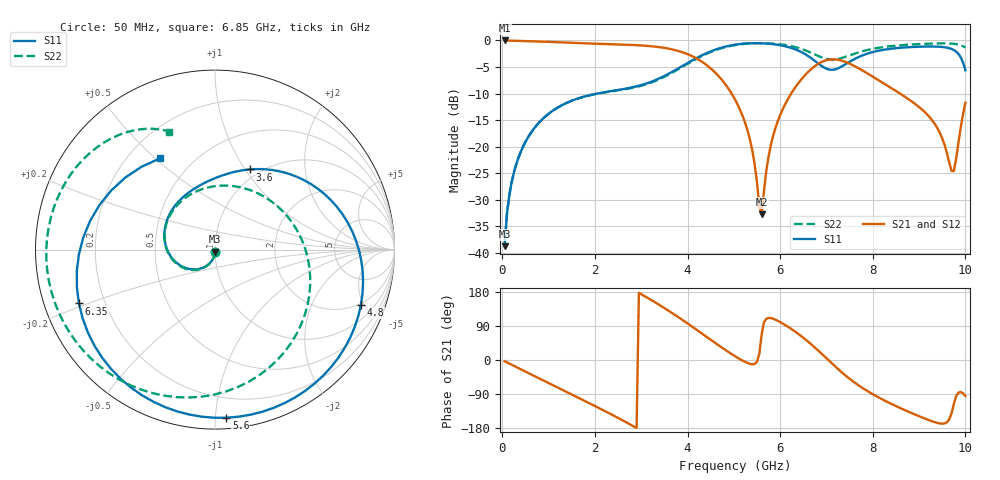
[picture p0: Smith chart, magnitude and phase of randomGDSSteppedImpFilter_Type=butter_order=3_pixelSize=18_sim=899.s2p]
! freq	dB(S11)	phase(S11)	dB(S12)	phase(S12)
!  dB(S21)	phase(S21)	dB(S22)	phase(S22)
!S-par simulation data
#  GHz  S  DB  R 50
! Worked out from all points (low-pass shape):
!   200 points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, 50 MHz to 10 GHz, reference 50 ohm
!   highest |S21| = -0.02 dB at 50 MHz (marker M1); lowest = -32.7 dB at 5.6 GHz (marker M2)
!   |S21| within 3 dB of the highest: start of sweep to 4.111 GHz
!   lowest |S11| = -38.7 dB at 50 MHz (marker M3), VSWR 1.02, Z = 50.1 - j1.15 ohm
!   |S11| at or under -10 dB: start of sweep to 2.054 GHz
!   |S22| runs from -38.7 to -0.5 dB; largest |S21 - S12| = 0
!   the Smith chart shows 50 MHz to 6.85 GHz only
!   S11 on the Smith chart (normalised r, x): 50 MHz: 1.00, -0.02; 3.6 GHz: 0.90, +1.05; 4.8 GHz: 1.89, -4.75; 5.6 GHz: 0.07, -1.07; 6.35 GHz: 0.11, -0.19; 6.85 GHz: 0.33, +0.52
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0.05  -38.73 -84.5  -0.02 -3.1  -0.02 -3.1  -38.72 -84.3
0.2  -26.77 -99.7  -0.05 -12.3  -0.05 -12.3  -26.77 -99.2
0.5  -19.10 -120.6  -0.12 -30.6  -0.12 -30.6  -19.10 -119.3
1.75  -10.62 163.3  -0.55 -106.1  -0.55 -106.1  -10.65 163.4
2.65  -9.11 114.6  -0.81 -162.6  -0.81 -162.6  -9.20 98.7
3.4  -7.12 77.4  -1.29 144.7  -1.29 144.7  -7.27 30.0
3.6  -6.25 66.5  -1.57 129.3  -1.57 129.3  -6.41 9.8
4.15  -3.54 30.7  -3.19 83.8  -3.19 83.8  -3.68 -46.2
4.8  -1.22 -20.7  -8.08 27.9  -8.08 27.9  -1.31 -108.6
5.05  -0.78 -41.1  -11.53 8.2  -11.53 8.2  -0.85 -130.3
5.6  -0.55 -86.1  -32.70 66.6  -32.70 66.6  -0.52 -173.3
5.85  -0.72 -107.5  -17.92 108.8  -17.92 108.8  -0.61 168.9
6.35  -1.77 -158.4  -8.56 72.6  -8.56 72.6  -1.32 136.0
6.7  -3.54 150.4  -5.18 38.3  -5.18 38.3  -2.45 116.9
6.85  -4.53 121.1  -4.27 21.7  -4.27 21.7  -3.03 111.2
7.1  -5.55 62.5  -3.58 -7.1  -3.58 -7.1  -3.60 105.9
7.45  -4.29 -11.9  -4.19 -44.8  -4.19 -44.8  -2.97 98.1
7.85  -2.59 -65.0  -6.04 -79.3  -6.04 -79.3  -1.88 81.4
8.35  -1.62 -107.6  -8.71 -112.8  -8.71 -112.8  -1.13 57.4
9.45  -1.21 176.4  -17.44 -167.5  -17.44 -167.5  -0.57 7.5
9.75  -1.82 143.7  -24.60 -116.3  -24.60 -116.3  -0.65 -6.4
10  -5.63 89.2  -11.75 -94.8  -11.75 -94.8  -1.32 -17.8
